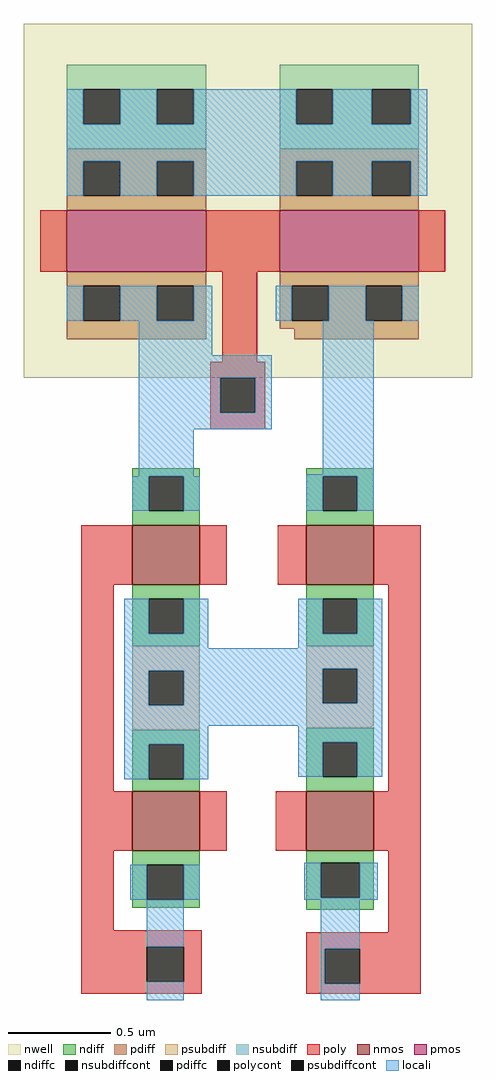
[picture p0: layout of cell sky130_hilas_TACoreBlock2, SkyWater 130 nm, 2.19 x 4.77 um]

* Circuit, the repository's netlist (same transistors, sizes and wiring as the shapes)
* Copyright 2020 The Hilas PDK Authors
* 
* This file is part of HILAS.
* 
* HILAS is free software: you can redistribute it and/or modify
* it under the terms of the GNU Lesser General Public License as published by
* the Free Software Foundation, version 3 of the License.
* 
* HILAS is distributed in the hope that it will be useful,
* but WITHOUT ANY WARRANTY; without even the implied warranty of
* MERCHANTABILITY or FITNESS FOR A PARTICULAR PURPOSE.  See the
* GNU Lesser General Public License for more details.
* 
* You should have received a copy of the GNU Lesser General Public License
* along with HILAS.  If not, see <https://www.gnu.org/licenses/>.
* 
* Licensed under the Lesser General Public License, Version 3.0 (the "License");
* you may not use this file except in compliance with the License.
* You may obtain a copy of the License at
* 
* https://www.gnu.org/licenses/lgpl-3.0.en.html
* 
* Unless required by applicable law or agreed to in writing, software
* distributed under the License is distributed on an "AS IS" BASIS,
* WITHOUT WARRANTIES OR CONDITIONS OF ANY KIND, either express or implied.
* See the License for the specific language governing permissions and
* limitations under the License.
* 
* SPDX-License-Identifier: LGPL-3.0
* 
* 

* NGSPICE file created from sky130_hilas_TACoreBlock2.ext - technology: sky130A


* Top level circuit sky130_hilas_TACoreBlock2

X0 w_n122_224# a_n106_328# a_n106_328# w_n122_224# sky130_fd_pr__pfet_01v8 w=680000u l=300000u
X1 a_n16_n180# a_n66_n378# a_n66_n378# a_n16_n180# sky130_fd_pr__nfet_01v8 w=330000u l=290000u
X2 a_n106_328# a_n66_n378# a_n16_n180# a_n16_n180# sky130_fd_pr__nfet_01v8 w=330000u l=290000u
X3 a_128_272# a_124_n238# a_n16_n180# a_n16_n180# sky130_fd_pr__nfet_01v8 w=330000u l=290000u
X4 w_n122_224# a_n106_328# a_128_272# w_n122_224# sky130_fd_pr__pfet_01v8 w=680000u l=300000u
X5 a_n16_n180# a_124_n238# a_124_n238# a_n16_n180# sky130_fd_pr__nfet_01v8 w=330000u l=290000u
.end

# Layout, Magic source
magic
tech sky130A
<< nwell >>
rect 0 304 219 477
<< nmos >>
rect 53 203 86 232
rect 138 203 171 232
rect 53 73 86 102
rect 138 73 171 102
<< pmos >>
rect 21 356 89 386
rect 125 356 193 386
<< ndiff >>
rect 53 256 86 260
rect 53 239 61 256
rect 78 239 86 256
rect 53 232 86 239
rect 138 256 171 260
rect 138 239 146 256
rect 163 239 171 256
rect 138 232 171 239
rect 53 196 86 203
rect 53 179 61 196
rect 78 179 86 196
rect 53 173 86 179
rect 53 125 86 132
rect 53 108 61 125
rect 78 108 86 125
rect 53 102 86 108
rect 138 196 171 203
rect 138 179 146 196
rect 163 179 171 196
rect 138 173 171 179
rect 138 126 171 133
rect 138 109 146 126
rect 163 109 171 126
rect 138 102 171 109
rect 53 66 86 73
rect 53 49 60 66
rect 78 49 86 66
rect 53 45 86 49
rect 138 67 171 73
rect 138 50 145 67
rect 164 50 171 67
rect 138 44 171 50
<< pdiff >>
rect 21 410 89 416
rect 21 393 29 410
rect 47 393 65 410
rect 83 393 89 410
rect 21 386 89 393
rect 125 410 193 416
rect 125 393 133 410
rect 151 393 170 410
rect 189 393 193 410
rect 125 386 193 393
rect 21 349 89 356
rect 21 332 29 349
rect 47 332 65 349
rect 83 332 89 349
rect 21 323 89 332
rect 125 349 193 356
rect 125 332 131 349
rect 149 332 167 349
rect 185 332 193 349
rect 125 328 193 332
rect 132 323 193 328
<< ndiffc >>
rect 61 239 78 256
rect 146 239 163 256
rect 61 179 78 196
rect 61 108 78 125
rect 146 179 163 196
rect 146 109 163 126
rect 60 49 78 66
rect 145 50 164 67
<< pdiffc >>
rect 29 393 47 410
rect 65 393 83 410
rect 133 393 151 410
rect 170 393 189 410
rect 29 332 47 349
rect 65 332 83 349
rect 131 332 149 349
rect 167 332 185 349
<< psubdiff >>
rect 53 161 86 173
rect 53 144 61 161
rect 78 144 86 161
rect 53 132 86 144
rect 138 162 171 173
rect 138 145 146 162
rect 163 145 171 162
rect 138 134 171 145
rect 138 133 170 134
<< nsubdiff >>
rect 21 445 89 457
rect 21 428 29 445
rect 47 428 65 445
rect 83 428 89 445
rect 21 416 89 428
rect 125 445 193 457
rect 125 428 133 445
rect 151 428 170 445
rect 189 428 193 445
rect 125 416 193 428
<< psubdiffcont >>
rect 61 144 78 161
rect 146 145 163 162
<< nsubdiffcont >>
rect 29 428 47 445
rect 65 428 83 445
rect 133 428 151 445
rect 170 428 189 445
<< poly >>
rect 8 356 21 386
rect 89 356 125 386
rect 193 356 206 386
rect 97 312 114 356
rect 91 304 118 312
rect 91 287 96 304
rect 113 287 118 304
rect 91 279 118 287
rect 28 203 53 232
rect 86 203 99 232
rect 124 203 138 232
rect 171 203 194 232
rect 28 102 44 203
rect 178 102 194 203
rect 28 73 53 102
rect 86 73 99 102
rect 123 73 138 102
rect 171 73 194 102
rect 28 34 44 73
rect 28 26 87 34
rect 178 33 194 73
rect 28 9 60 26
rect 78 9 87 26
rect 28 3 87 9
rect 138 25 194 33
rect 138 8 147 25
rect 164 8 194 25
rect 138 3 194 8
<< polycont >>
rect 96 287 113 304
rect 60 9 78 26
rect 147 8 164 25
<< locali >>
rect 21 428 29 445
rect 47 428 65 445
rect 83 428 133 445
rect 151 428 170 445
rect 189 428 197 445
rect 21 410 197 428
rect 21 393 29 410
rect 47 393 65 410
rect 83 393 133 410
rect 151 393 170 410
rect 189 393 197 410
rect 21 332 29 349
rect 47 332 65 349
rect 83 332 92 349
rect 123 332 131 349
rect 149 332 167 349
rect 185 332 193 349
rect 56 315 92 332
rect 56 304 121 315
rect 56 287 96 304
rect 113 287 121 304
rect 56 279 121 287
rect 56 256 83 279
rect 146 257 171 332
rect 138 256 171 257
rect 53 239 61 256
rect 78 239 86 256
rect 138 239 146 256
rect 163 239 171 256
rect 49 179 61 196
rect 78 179 90 196
rect 49 172 90 179
rect 134 179 146 196
rect 163 179 175 196
rect 134 172 175 179
rect 49 162 175 172
rect 49 161 146 162
rect 49 144 61 161
rect 78 145 146 161
rect 163 145 175 162
rect 78 144 175 145
rect 49 134 175 144
rect 49 125 90 134
rect 49 108 61 125
rect 78 108 90 125
rect 134 126 175 134
rect 134 109 146 126
rect 163 109 175 126
rect 52 49 60 66
rect 78 49 86 66
rect 137 50 145 67
rect 164 50 173 67
rect 137 49 173 50
rect 60 26 78 49
rect 60 0 78 9
rect 145 25 164 49
rect 145 8 147 25
rect 145 0 164 8
<< properties >>
string LEFsite unithd
string LEFclass CORE
string LEFsymmetry X Y R90
<< end >>
